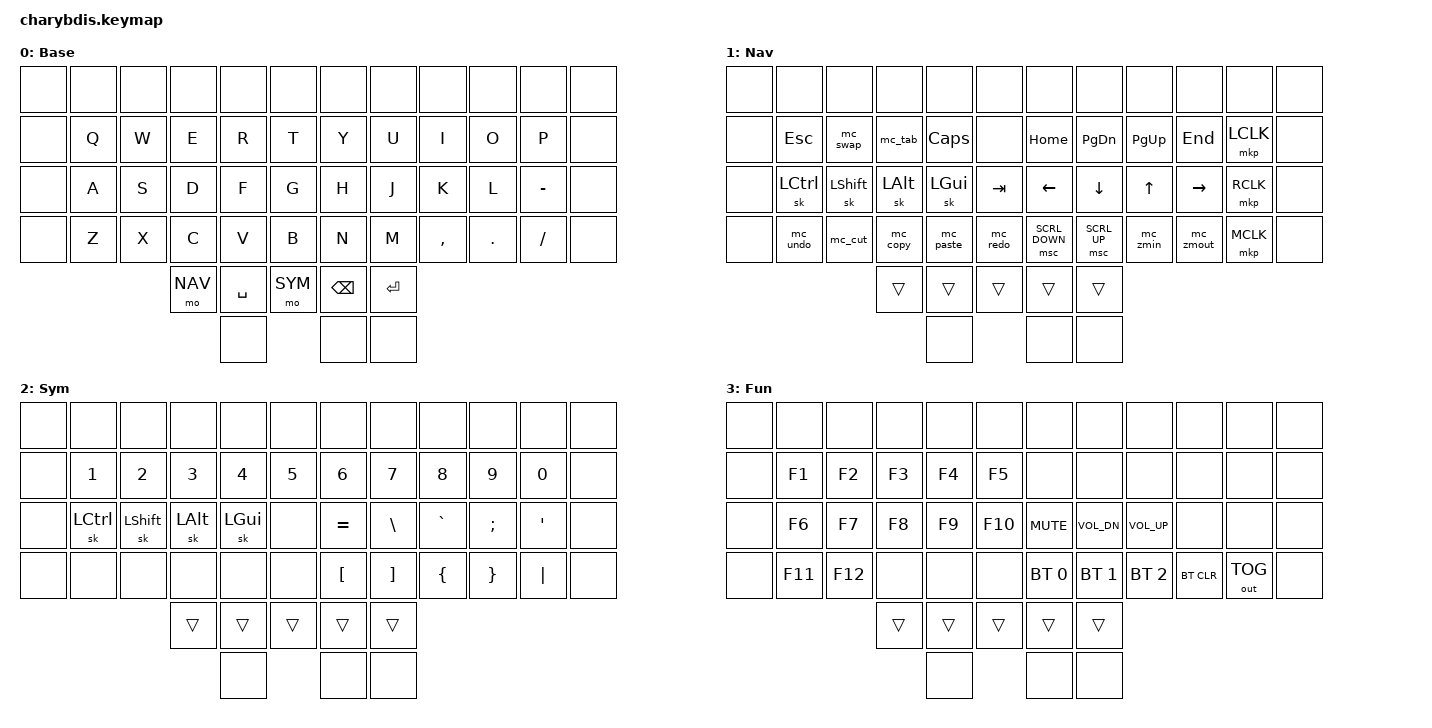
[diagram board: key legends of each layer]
/*
 * Charybdis Nano OSM keymap
 * hold-tap 完全排除、Callum式 One-Shot ベース
 * Corne と同じ設計
 */

#include <dt-bindings/zmk/mouse.h>
#include <behaviors.dtsi>
#include <dt-bindings/zmk/bt.h>
#include <dt-bindings/zmk/keys.h>
#include <dt-bindings/zmk/outputs.h>

#define BASE 0
#define NAV  1
#define SYM  2
#define FUN  3

/ {
    // --- Macros ---
    macros {
        // Swapper（Cmd+Tab: キーを離すまでCmdを保持）
        mc_swap: mc_swap {
            compatible = "zmk,behavior-macro";
            #binding-cells = <0>;
            wait-ms = <30>;
            tap-ms = <30>;
            bindings = <&macro_press &kp LGUI>, <&macro_tap &kp TAB>, <&macro_pause_for_release>, <&macro_release &kp LGUI>;
        };
        // Tabber（Ctrl+Tab: キーを離すまでCtrlを保持）
        mc_tab: mc_tab {
            compatible = "zmk,behavior-macro";
            #binding-cells = <0>;
            wait-ms = <30>;
            tap-ms = <30>;
            bindings = <&macro_press &kp LCTRL>, <&macro_tap &kp TAB>, <&macro_pause_for_release>, <&macro_release &kp LCTRL>;
        };
        // Undo (Cmd+Z)
        mc_undo: mc_undo {
            compatible = "zmk,behavior-macro";
            #binding-cells = <0>;
            wait-ms = <30>;
            tap-ms = <30>;
            bindings = <&macro_press &kp LGUI>, <&macro_tap &kp Z>, <&macro_release &kp LGUI>;
        };
        // Cut (Cmd+X)
        mc_cut: mc_cut {
            compatible = "zmk,behavior-macro";
            #binding-cells = <0>;
            wait-ms = <30>;
            tap-ms = <30>;
            bindings = <&macro_press &kp LGUI>, <&macro_tap &kp X>, <&macro_release &kp LGUI>;
        };
        // Copy (Cmd+C)
        mc_copy: mc_copy {
            compatible = "zmk,behavior-macro";
            #binding-cells = <0>;
            wait-ms = <30>;
            tap-ms = <30>;
            bindings = <&macro_press &kp LGUI>, <&macro_tap &kp C>, <&macro_release &kp LGUI>;
        };
        // Paste (Cmd+V)
        mc_paste: mc_paste {
            compatible = "zmk,behavior-macro";
            #binding-cells = <0>;
            wait-ms = <30>;
            tap-ms = <30>;
            bindings = <&macro_press &kp LGUI>, <&macro_tap &kp V>, <&macro_release &kp LGUI>;
        };
        // Redo (Cmd+Shift+Z)
        mc_redo: mc_redo {
            compatible = "zmk,behavior-macro";
            #binding-cells = <0>;
            wait-ms = <30>;
            tap-ms = <30>;
            bindings = <&macro_press &kp LGUI>, <&macro_press &kp LSHFT>, <&macro_tap &kp Z>, <&macro_release &kp LSHFT>, <&macro_release &kp LGUI>;
        };
        // Zoom In (Cmd+=)
        mc_zmin: mc_zmin {
            compatible = "zmk,behavior-macro";
            #binding-cells = <0>;
            wait-ms = <30>;
            tap-ms = <30>;
            bindings = <&macro_press &kp LGUI>, <&macro_tap &kp EQUAL>, <&macro_release &kp LGUI>;
        };
        // Zoom Out (Cmd+-)
        mc_zmout: mc_zmout {
            compatible = "zmk,behavior-macro";
            #binding-cells = <0>;
            wait-ms = <30>;
            tap-ms = <30>;
            bindings = <&macro_press &kp LGUI>, <&macro_tap &kp MINUS>, <&macro_release &kp LGUI>;
        };
    };

    // --- Combos ---
    // Charybdis key positions:
    // Row 0:  0  1  2  3  4  5  |  6  7  8  9 10 11  (unused)
    // Row 1: 12 13 14 15 16 17  | 18 19 20 21 22 23
    // Row 2: 24 25 26 27 28 29  | 30 31 32 33 34 35
    // Row 3: 36 37 38 39 40 41  | 42 43 44 45 46 47
    // Thumb:       48 49 50     |    51 52
    //              NAV SPC SYM  |  BSPC ENT
    // Extra:          53        |    54 55
    combos {
        compatible = "zmk,combos";

        // SPC(49) + BSPC(51) → LNG1 (IME ON)
        combo_lng1 {
            timeout-ms = <50>;
            require-prior-idle-ms = <150>;
            key-positions = <49 51>;
            bindings = <&kp LANGUAGE_1>;
            layers = <BASE>;
        };

        // BSPC(51) + ENT(52) → LNG2 (IME OFF)
        combo_lng2 {
            timeout-ms = <50>;
            require-prior-idle-ms = <150>;
            key-positions = <51 52>;
            bindings = <&kp LANGUAGE_2>;
            layers = <BASE>;
        };

    };

    // --- Conditional Layer (NAV + SYM = FUN) ---
    conditional_layers {
        compatible = "zmk,conditional-layers";
        tri_layer {
            if-layers = <NAV SYM>;
            then-layer = <FUN>;
        };
    };

    // --- Keymap ---
    keymap {
        compatible = "zmk,keymap";

        // Base Layer
        //   ---  ---  ---  ---  ---  --- │  ---  ---  ---  ---  ---  ---
        //   ---  Q    W    E    R    T   │  Y    U    I    O    P    ---
        //   ---  A    S    D    F    G   │  H    J    K    L    -    ---
        //   ---  Z    X    C    V    B   │  N    M    ,    .    /    ---
        //             NAV  SPC  SYM      │      BSPC ENT
        //                  ---           │       --- ---
        BASE_layer {
            display-name = "Base";
            bindings = <
&none  &none  &none  &none    &none    &none       &none     &none    &none      &none    &none      &none
&none  &kp Q  &kp W  &kp E    &kp R    &kp T       &kp Y     &kp U    &kp I      &kp O    &kp P      &none
&none  &kp A  &kp S  &kp D    &kp F    &kp G       &kp H     &kp J    &kp K      &kp L    &kp MINUS  &none
&none  &kp Z  &kp X  &kp C    &kp V    &kp B       &kp N     &kp M    &kp COMMA  &kp DOT  &kp FSLH   &none
                     &mo NAV  &kp SPC  &mo SYM     &kp BSPC  &kp RET
                              &none                &none     &none
            >;
        };

        // NAV Layer（左内側親指）
        //   ---  ---  ---  ---  ---  --- │  ---  ---  ---  ---  ---  ---
        //   ---  ESC  SWAP STAB CAPS --- │  HOME PGDN PGUP END  LCLK ---
        //   --- skCTL skSFT skALT skGUI TAB│ LEFT DOWN UP  RGHT RCLK ---
        //   ---  UNDO CUT  COPY PST REDO │  SCRDN SCRUP ZM+  ZM-  MCLK ---
        //             ___  ___  ___      │      ___  ___
        //                  ---           │       --- ---
        NAV_layer {
            display-name = "Nav";
            bindings = <
&none  &none      &none      &none      &none      &none          &none          &none          &none          &none          &none      &none
&none  &kp ESC    &mc_swap   &mc_tab    &kp CAPS   &none          &kp HOME       &kp PG_DN      &kp PG_UP      &kp END        &mkp LCLK  &none
&none  &sk LCTRL  &sk LSHFT  &sk LALT   &sk LGUI   &kp TAB        &kp LEFT       &kp DOWN       &kp UP         &kp RIGHT      &mkp RCLK  &none
&none  &mc_undo   &mc_cut    &mc_copy   &mc_paste  &mc_redo       &msc SCRL_DOWN &msc SCRL_UP   &mc_zmin       &mc_zmout      &mkp MCLK  &none
                             &trans     &trans     &trans         &trans         &trans
                                        &none                     &none          &none
            >;
        };

        // SYM Layer（左外側親指）
        //   ---  ---  ---  ---  ---  --- │  ---  ---  ---  ---  ---  ---
        //   ---  1    2    3    4    5   │  6    7    8    9    0    ---
        //   --- skCTL skSFT skALT skGUI ---│  =    \    `    ;    '   ---
        //   ---  ---  ---  ---  ---  --- │  [    ]    {    }    |    ---
        //             ___  ___  ___      │      ___  ___
        //                  ---           │       --- ---
        SYM_layer {
            display-name = "Sym";
            bindings = <
&none  &none      &none      &none     &none     &none        &none      &none     &none      &none     &none     &none
&none  &kp N1     &kp N2     &kp N3    &kp N4    &kp N5       &kp N6     &kp N7    &kp N8     &kp N9    &kp N0    &none
&none  &sk LCTRL  &sk LSHFT  &sk LALT  &sk LGUI  &none        &kp EQUAL  &kp BSLH  &kp GRAVE  &kp SEMI  &kp SQT   &none
&none  &none      &none      &none     &none     &none        &kp LBKT   &kp RBKT  &kp LBRC   &kp RBRC  &kp PIPE  &none
                             &trans    &trans    &trans       &trans     &trans
                                       &none                  &none      &none
            >;
        };

        // FUN Layer（NAV + SYM 同時）
        //   ---  ---  ---  ---  ---  --- │  ---  ---  ---  ---  ---  ---
        //   ---  F1   F2   F3   F4   F5  │  ---  ---  ---  ---  ---  ---
        //   ---  F6   F7   F8   F9   F10 │  MUTE VOLD VOLU ---  ---  ---
        //   ---  F11  F12  ---  ---  --- │  BT0  BT1  BT2  BTCLR OUTTOG ---
        //             ___  ___  ___      │      ___  ___
        //                  ---           │       --- ---
        FUN_layer {
            display-name = "Fun";
            bindings = <
&none  &none    &none    &none   &none   &none        &none         &none         &none         &none       &none         &none
&none  &kp F1   &kp F2   &kp F3  &kp F4  &kp F5       &none         &none         &none         &none       &none         &none
&none  &kp F6   &kp F7   &kp F8  &kp F9  &kp F10      &kp K_MUTE    &kp K_VOL_DN  &kp K_VOL_UP  &none       &none         &none
&none  &kp F11  &kp F12  &none   &none   &none        &bt BT_SEL 0  &bt BT_SEL 1  &bt BT_SEL 2  &bt BT_CLR  &out OUT_TOG  &none
                         &trans  &trans  &trans       &trans        &trans
                                 &none                &none         &none
            >;
        };
    };
};

// --- One-Shot Modifier 設定 ---
&sk {
    release-after-ms = <2000>;
};

// --- スクロール速度 ---
&msc {
    time-to-max-speed-ms = <300>;
    acceleration-exponent = <1>;
};
